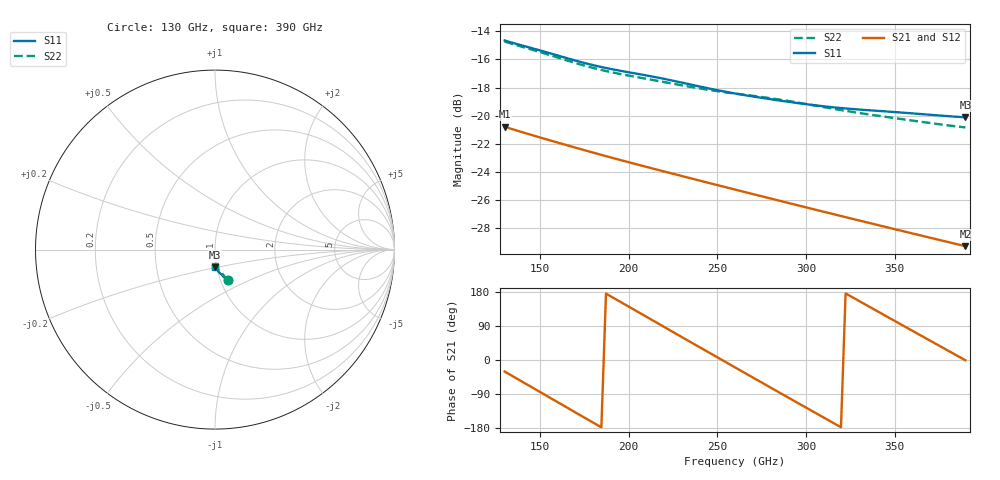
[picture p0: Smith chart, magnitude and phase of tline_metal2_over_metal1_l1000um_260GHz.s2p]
#  GHZ S DB R 50
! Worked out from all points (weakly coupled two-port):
!   101 points, 130 GHz to 390 GHz, reference 50 ohm
!   highest |S21| = -20.80 dB at 130 GHz (marker M1); lowest = -29.3 dB at 390 GHz (marker M2)
!   lowest |S11| = -20.1 dB at 390 GHz (marker M3), VSWR 1.22, Z = 49.1 - j9.78 ohm
!   |S11| at or under -10 dB: start of sweep to end of sweep
!   |S22| runs from -20.8 to -14.7 dB; largest |S21 - S12| = 1.3e-13
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130  -14.65 -67.9  -20.80 -30.4  -20.80 -30.4  -14.73 -66.5
140.4  -15.02 -69.0  -21.20 -58.5  -21.20 -58.5  -15.12 -67.6
150.8  -15.39 -70.4  -21.59 -86.6  -21.59 -86.6  -15.51 -69.0
161.2  -15.77 -71.8  -21.97 -114.7  -21.97 -114.7  -15.92 -70.2
174.2  -16.22 -73.2  -22.43 -149.8  -22.43 -149.8  -16.41 -71.4
182  -16.47 -73.9  -22.71 -170.7  -22.71 -170.7  -16.67 -71.9
192.4  -16.74 -74.8  -23.07 161.3  -23.07 161.3  -16.97 -72.5
205.4  -17.04 -76.2  -23.50 126.4  -23.50 126.4  -17.28 -73.5
218.4  -17.34 -77.8  -23.93 91.6  -23.93 91.6  -17.57 -74.7
228.8  -17.62 -79.1  -24.26 63.8  -24.26 63.8  -17.82 -75.7
241.8  -17.97 -80.5  -24.68 29.0  -24.68 29.0  -18.10 -76.8
249.6  -18.18 -81.1  -24.94 8.2  -24.94 8.2  -18.25 -77.4
260  -18.43 -81.8  -25.27 -19.4  -25.27 -19.4  -18.43 -78.4
270.4  -18.64 -82.4  -25.60 -47.1  -25.60 -47.1  -18.60 -79.5
280.8  -18.85 -83.1  -25.93 -74.6  -25.93 -74.6  -18.78 -80.7
291.2  -19.04 -83.7  -26.25 -102.1  -26.25 -102.1  -18.98 -82.0
304.2  -19.25 -84.3  -26.66 -136.4  -26.66 -136.4  -19.27 -83.5
314.6  -19.40 -84.8  -26.99 -163.8  -26.99 -163.8  -19.50 -84.5
325  -19.52 -85.3  -27.31 168.9  -27.31 168.9  -19.71 -85.3
348.4  -19.73 -86.7  -28.03 107.6  -28.03 107.6  -20.15 -87.0
366.6  -19.91 -88.0  -28.59 60.1  -28.59 60.1  -20.47 -88.2
390  -20.12 -89.5  -29.30 -0.7  -29.30 -0.7  -20.84 -89.5
